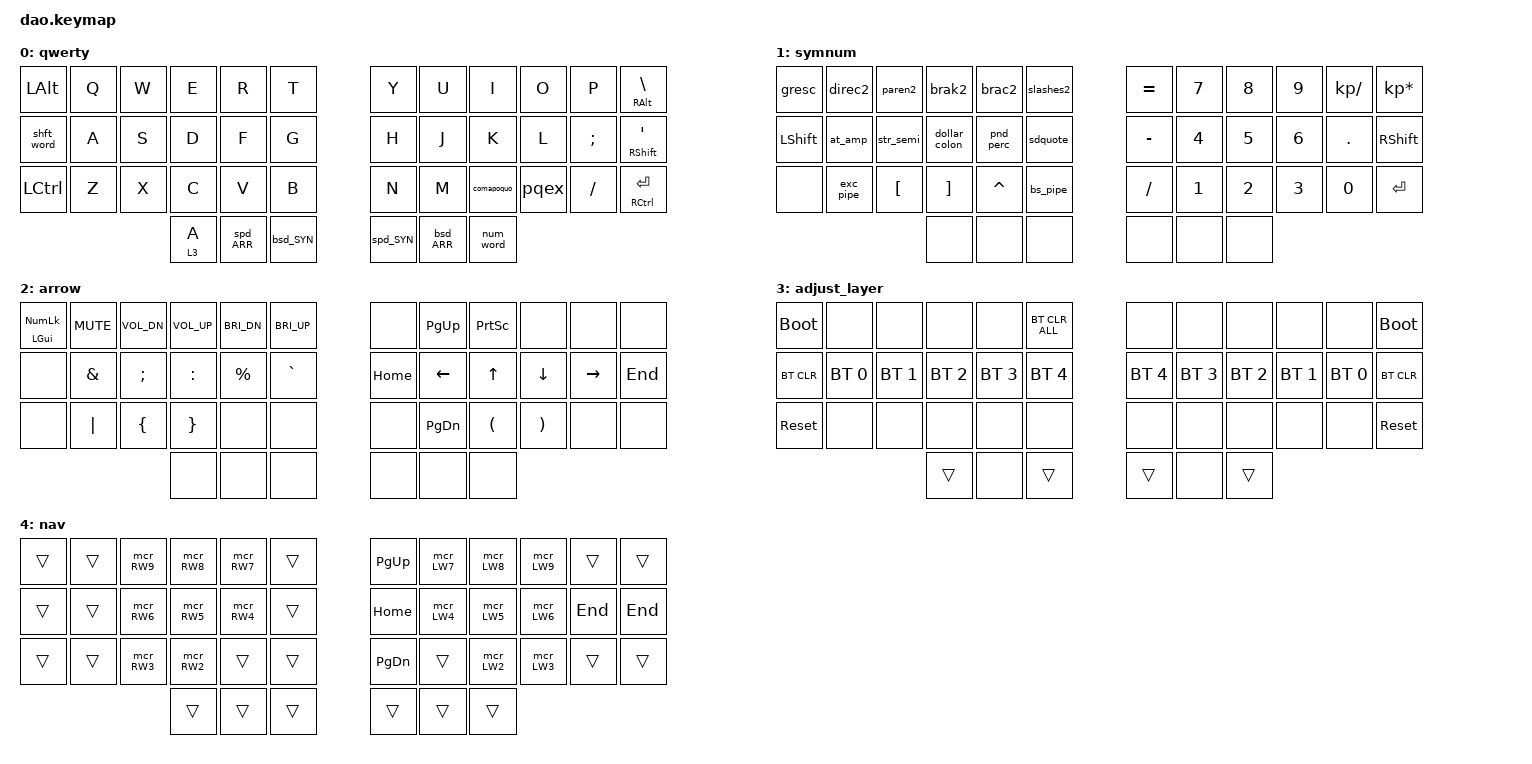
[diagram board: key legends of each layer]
/*
 * Copyright (c) 2021 Rafael Yumagulov
 *
 * SPDX-License-Identifier: MIT
 */

#include <behaviors.dtsi>
#include <dt-bindings/zmk/bt.h>
#include <dt-bindings/zmk/keys.h>
#include <dt-bindings/zmk/rgb.h>

#define DEF 0
#define LWR 1
#define RSE 2
#define ADJ 3

&lt { quick_tap_ms = <200>; };

&mt { quick_tap_ms = <200>; };

/ {
    chosen {
        zmk,matrix_transform = &default_transform;

        // zmk,matrix_transform = &extra_keys_transform;
    };
};

/ {
    combos {
        compatible = "zmk,combos";

        cmb_escape {
            bindings = <&kp ESC>;
            key-positions = <1 2>;
        };

        cmb_tab {
            bindings = <&kp TAB>;
            key-positions = <4 5>;
        };

        cmb_leftjumpword {
            bindings = <&lt 4 LC(LEFT_ARROW)>;
            key-positions = <14 13>;
            require-prior-idle-ms = <100>;
            slow-release;
        };

        cmb_rightjumpword {
            bindings = <&lt 4 RC(RIGHT_ARROW)>;
            key-positions = <22 21>;
            require-prior-idle-ms = <100>;
        };

        cmb_word_bspc {
            bindings = <&kp LC(BACKSPACE)>;
            key-positions = <13 12>;
        };

        cmb_word_del {
            bindings = <&kp LC(DEL)>;
            key-positions = <22 23>;
        };

        cmb_word_sel_left {
            bindings = <&kp LC(LS(LEFT))>;
            key-positions = <13 14 15>;
            require-prior-idle-ms = <200>;
        };

        cmb_word_sel_right {
            bindings = <&kp LC(LS(RIGHT))>;
            key-positions = <20 21 22>;
            require-prior-idle-ms = <200>;
        };

        cmb_rclick_word {
            bindings = <&kp LS(F10)>;
            key-positions = <22 19 21 20>;
        };

        cmb_ctrl_z {
            bindings = <&kp LC(Z)>;
            key-positions = <25 26>;
        };

        cmb_ctl_z {
            bindings = <&kp LC(Z)>;
            key-positions = <38 39>;
            layers = <0 1 2>;
        };

        cmb_left_arrow {
            bindings = <&kp LEFT>;
            key-positions = <16 15>;
            require-prior-idle-ms = <600>;
        };

        cmb_right_arrow {
            bindings = <&kp RIGHT>;
            key-positions = <19 20>;
            require-prior-idle-ms = <600>;
        };

        cmb_up_arrow {
            bindings = <&kp UP_ARROW>;
            key-positions = <7 8>;
            require-prior-idle-ms = <600>;
        };

        cmb_dn_arrow {
            bindings = <&kp DOWN>;
            key-positions = <31 32>;
            require-prior-idle-ms = <600>;
        };

        cmb_cut {
            bindings = <&kp LC(X)>;
            key-positions = <26 27>;
        };

        cmb_copy {
            bindings = <&kp LC(C)>;
            key-positions = <27 28>;
        };

        cmb_paste {
            bindings = <&kp LC(V)>;
            key-positions = <27 28 26>;
        };

        cmb_CT_AL_DEL {
            bindings = <&kp LC(LA(DELETE))>;
            key-positions = <26 25 27 28>;
        };

        cmb_lock_kbd {
            bindings = <&kp LG(L)>;
            key-positions = <32 31 33 34>;
        };

        cmb_open_apps {
            bindings = <&kp LG(TAB)>;
            key-positions = <1 2 3 4>;
        };

        cmb_lshift {
            bindings = <&shft_word>;
            key-positions = <14 15>;
            require-prior-idle-ms = <200>;
        };

        cmb_rshift {
            bindings = <&shft_word>;
            key-positions = <21 20>;
            require-prior-idle-ms = <200>;
        };

        cmb_atsym {
            bindings = <&kp AT>;
            key-positions = <1 13>;
        };

        cmb_dollar {
            bindings = <&kp DOLLAR>;
            key-positions = <15 3>;
        };

        cmb_percent {
            bindings = <&kp PERCENT>;
            key-positions = <4 16>;
        };

        cmb_alt {
            bindings = <&sk LALT>;
            key-positions = <13 25 13 25>;
            slow-release;
            require-prior-idle-ms = <200>;
        };

        cmb_ctrl {
            bindings = <&sk LCTRL>;
            key-positions = <15 27>;
            slow-release;
            require-prior-idle-ms = <200>;
        };

        cmb_win {
            bindings = <&sk LEFT_WIN>;
            key-positions = <14 14 14 14 2>;
        };

        cmb_apple {
            bindings = <&sk LEFT_COMMAND>;
            key-positions = <14 26>;
        };

        cmb_pssw {
            bindings = <&pssw>;
            key-positions = <7 8 9 10>;
        };

        cmb_esc {
            bindings = <&kp ESC>;
            key-positions = <37 40>;
            layers = <0 1 2>;
        };

        cmb_LW3 {
            bindings = <&mcr_LW3>;
            key-positions = <33 3 2>;
        };

        cmb_LW4 {
            bindings = <&mcr_LW4>;
            key-positions = <19 3 2>;
        };

        cmb_LW5 {
            bindings = <&mcr_LW5>;
            key-positions = <20 3 2>;
            slow-release;
            require-prior-idle-ms = <100>;
        };

        cmb_LW6 {
            bindings = <&mcr_LW6>;
            key-positions = <3 21 2>;
        };

        cmb_LW7 {
            bindings = <&mcr_LW7>;
            key-positions = <3 7 2>;
        };

        cmb_LW8 {
            bindings = <&mcr_LW8>;
            key-positions = <8 3 2>;
            slow-release;
            require-prior-idle-ms = <100>;
        };

        cmb_LW9 {
            bindings = <&mcr_LW9>;
            key-positions = <3 9 2>;
        };

        cmb_RW3 {
            bindings = <&mcr_RW3>;
            key-positions = <33 3 4>;
        };

        cmb_RW4 {
            bindings = <&mcr_RW4>;
            key-positions = <19 3 4>;
        };

        cmb_RW5 {
            bindings = <&mcr_RW5>;
            key-positions = <20 3 4>;
            slow-release;
            require-prior-idle-ms = <100>;
        };

        cmb_RW6 {
            bindings = <&mcr_RW6>;
            key-positions = <3 21 4>;
        };

        cmb_RW7 {
            bindings = <&mcr_RW7>;
            key-positions = <3 7 4>;
        };

        cmb_RW8 {
            bindings = <&mcr_RW8>;
            key-positions = <8 3 4>;
            slow-release;
            require-prior-idle-ms = <100>;
        };

        cmb_RW9 {
            bindings = <&mcr_RW9>;
            key-positions = <3 9 4>;
        };
    };

    behaviors {
        spd_SYN: spd_SYN {
            compatible = "zmk,behavior-mod-morph";
            label = "SPD_SYN";
            bindings = <&lt 1 SPACE>, <&kp DELETE>;

            #binding-cells = <0>;
            mods = <(MOD_LCTL|MOD_LSFT|MOD_LALT|MOD_RCTL|MOD_RSFT|MOD_RALT)>;
        };

        bsd_SYN: bsd_SYN {
            compatible = "zmk,behavior-mod-morph";
            label = "BSD_SYN";
            bindings = <&lt 1 BSPC>, <&kp DELETE>;

            #binding-cells = <0>;
            mods = <(MOD_LCTL|MOD_LSFT|MOD_LALT|MOD_RCTL|MOD_RSFT|MOD_RALT)>;
        };

        spd_ARR: spd_ARR {
            compatible = "zmk,behavior-mod-morph";
            label = "SPD_ARR";
            bindings = <&lt 2 BACKSPACE>, <&kp DELETE>;

            #binding-cells = <0>;
            mods = <(MOD_LCTL|MOD_LALT|MOD_LSFT|MOD_RCTL|MOD_RSFT|MOD_RALT)>;
        };

        bsd_ARR: bsd_ARR {
            compatible = "zmk,behavior-mod-morph";
            label = "BSD_ARR";
            bindings = <&lt 2 BACKSPACE>, <&kp DELETE>;

            #binding-cells = <0>;
            mods = <(MOD_LCTL|MOD_LSFT|MOD_LALT|MOD_RCTL|MOD_RSFT|MOD_RALT)>;
        };

        RW_RL: RW_RL {
            compatible = "zmk,behavior-mod-morph";
            label = "RW_RL";
            bindings = <&kp LC(RIGHT)>, <&kp RIGHT>;

            #binding-cells = <0>;
            mods = <(MOD_LCTL|MOD_LSFT|MOD_LALT)>;
            keep-mods = <(MOD_LCTL|MOD_LSFT|MOD_LALT)>;
        };

        direc2: direc2 {
            compatible = "zmk,behavior-tap-dance";
            label = "DIREC2";
            #binding-cells = <0>;
            bindings = <&kp LS(LESS_THAN)>, <&kp GREATER_THAN>;

            tapping-term-ms = <300>;
        };

        paren2: paren2 {
            compatible = "zmk,behavior-tap-dance";
            label = "PAREN2";
            #binding-cells = <0>;
            bindings = <&kp LEFT_PARENTHESIS>, <&kp RIGHT_PARENTHESIS>;

            tapping-term-ms = <300>;
        };

        brak2: brak2 {
            compatible = "zmk,behavior-tap-dance";
            label = "BRAK2";
            #binding-cells = <0>;
            bindings = <&kp LEFT_BRACKET>, <&kp RIGHT_BRACKET>;

            tapping-term-ms = <300>;
        };

        brac2: brac2 {
            compatible = "zmk,behavior-tap-dance";
            label = "BRAC2";
            #binding-cells = <0>;
            bindings = <&kp LEFT_BRACE>, <&kp RIGHT_BRACE>;

            tapping-term-ms = <300>;
        };

        slashes2: slashes2 {
            compatible = "zmk,behavior-tap-dance";
            label = "SLASHES2";
            #binding-cells = <0>;
            bindings = <&kp SLASH>, <&kp BACKSLASH>;

            tapping-term-ms = <300>;
        };

        pqex: pqex {
            compatible = "zmk,behavior-tap-dance";
            label = "PQEX";
            #binding-cells = <0>;
            bindings = <&kp PERIOD>, <&kp QUESTION>, <&kp EXCL>;

            tapping-term-ms = <300>;
        };

        comapoquo: comapoquo {
            compatible = "zmk,behavior-tap-dance";
            label = "COMAPOQUO";
            #binding-cells = <0>;
            bindings = <&kp COMMA>, <&kp APOS>, <&kp DOUBLE_QUOTES>;

            tapping-term-ms = <300>;
        };

        shft_word: shft_word {
            compatible = "zmk,behavior-tap-dance";
            label = "SHFT_WORD";
            #binding-cells = <0>;
            bindings = <&sk LSHFT>, <&caps_word>;

            tapping-term-ms = <300>;
        };

        exc_pipe: exc_pipe {
            compatible = "zmk,behavior-tap-dance";
            label = "EXC_PIPE";
            #binding-cells = <0>;
            tapping-term-ms = <300>;
            bindings = <&kp EXCL>, <&kp PIPE>;
        };

        pnd_perc: pnd_perc {
            compatible = "zmk,behavior-tap-dance";
            label = "PND_PERC";
            #binding-cells = <0>;
            tapping-term-ms = <300>;
            bindings = <&kp POUND>, <&kp PERCENT>;
        };

        str_semi: str_semi {
            compatible = "zmk,behavior-tap-dance";
            label = "STR_SEMI";
            #binding-cells = <0>;
            bindings = <&kp STAR>, <&kp SEMI>;

            tapping-term-ms = <300>;
        };

        at_amp: at_amp {
            compatible = "zmk,behavior-tap-dance";
            label = "AT_AMP";
            #binding-cells = <0>;
            bindings = <&kp AT_SIGN>, <&kp AMPS>;

            tapping-term-ms = <300>;
        };

        sdquote: sdquote {
            compatible = "zmk,behavior-tap-dance";
            label = "SDQUOTE";
            #binding-cells = <0>;
            tapping-term-ms = <300>;
            bindings = <&kp SINGLE_QUOTE>, <&kp DOUBLE_QUOTES>;
        };

        bs_pipe: bs_pipe {
            compatible = "zmk,behavior-tap-dance";
            label = "BS_PIPE";
            #binding-cells = <0>;
            tapping-term-ms = <300>;
            bindings = <&kp BACKSLASH>, <&kp PIPE>;
        };

        num_word: num_word {
            compatible = "zmk,behavior-caps-word";
            label = "NUM_WORD";
            #binding-cells = <0>;
            continue-list = <N1 N2 N4 N5 N6 N7 N8 N9 N0 N3 STAR BSPC SPACE MINUS PLUS EQUAL UNDERSCORE BSLH COLON COMMA DOT PERIOD SLASH FSLH DEL>;
        };

        dollar_colon: dollar_colon {
            compatible = "zmk,behavior-tap-dance";
            label = "DOLLAR_COLON";
            #binding-cells = <0>;
            bindings = <&kp DOLLAR>, <&kp COLON>;

            tapping-term-ms = <300>;
        };

        J_4LW: J_4LW {
            compatible = "zmk,behavior-mod-morph";
            label = "J_4LW";
            bindings = <&kp J>, <&mcr_LW4>;

            #binding-cells = <0>;
            mods = <(MOD_LCTL|MOD_RCTL|MOD_RALT|MOD_LALT)>;
        };

        K_5LW: K_5LW {
            compatible = "zmk,behavior-mod-morph";
            label = "K_5LW";
            bindings = <&kp K>, <&mcr_LW5>;

            #binding-cells = <0>;
            mods = <(MOD_LCTL|MOD_LALT|MOD_RCTL|MOD_RALT)>;
        };

        L_6LW: L_6LW {
            compatible = "zmk,behavior-mod-morph";
            label = "L_6LW";
            bindings = <&kp L>, <&mcr_LW6>;

            #binding-cells = <0>;
            mods = <(MOD_LCTL|MOD_LALT|MOD_RCTL|MOD_RALT)>;
        };

        comma_2LW: comma_2LW {
            compatible = "zmk,behavior-mod-morph";
            label = "COMMA_2LW";
            bindings = <&comapoquo>, <&comma_2LW>;

            #binding-cells = <0>;
            mods = <(MOD_LCTL|MOD_LALT|MOD_RCTL|MOD_RALT)>;
        };

        period_3LW: period_3LW {
            compatible = "zmk,behavior-mod-morph";
            label = "PERIOD_3LW";
            bindings = <&pqex>, <&mcr_LW3>;

            #binding-cells = <0>;
            mods = <(MOD_LCTL|MOD_LALT|MOD_RCTL|MOD_RALT)>;
        };

        U_7LW: U_7LW {
            compatible = "zmk,behavior-mod-morph";
            label = "U_7LW";
            bindings = <&kp U>, <&mcr_LW7>;

            #binding-cells = <0>;
            mods = <(MOD_LCTL|MOD_LALT|MOD_RCTL|MOD_RALT)>;
        };

        I_8LW: I_8LW {
            compatible = "zmk,behavior-mod-morph";
            label = "I_8LW";
            bindings = <&kp I>, <&mcr_LW8>;

            #binding-cells = <0>;
            mods = <(MOD_LCTL|MOD_LALT|MOD_RCTL|MOD_RALT)>;
        };

        O_9LW: O_9LW {
            compatible = "zmk,behavior-mod-morph";
            label = "O_9LW";
            bindings = <&kp I>, <&mcr_LW9>;

            #binding-cells = <0>;
            mods = <(MOD_LCTL|MOD_LALT|MOD_RCTL|MOD_RALT)>;
        };

        LA_LC: LA_LC {
            compatible = "zmk,behavior-tap-dance";
            label = "LA_LC";
            #binding-cells = <0>;
            bindings = <&kp LC(LEFT_ARROW)>;
        };

        RA_RC: RA_RC {
            compatible = "zmk,behavior-tap-dance";
            label = "RA_RC";
            #binding-cells = <0>;
            bindings = <&kp RC(RIGHT_ARROW)>;
        };
    };

    macros {
        pssw: pssw {
            compatible = "zmk,behavior-macro";
            #binding-cells = <0>;
            bindings = <&kp R &kp F &kp V &kp U &kp J &kp M &kp LS(A) &kp NUMBER_1>;
            label = "PSSW";
        };

        rgblayer: rgblayer {
            compatible = "zmk,behavior-macro";
            #binding-cells = <0>;
            bindings =
                <&macro_press>,
                <&mo 1>,
                <&macro_tap>,
                <&rgb_ug RGB_COLOR_HSB(343,88,36)>,
                <&macro_pause_for_release>,
                <&macro_release>,
                <&mo 1>,
                <&macro_tap>,
                <&rgb_ug RGB_COLOR_HSB(0,6,3)>;

            label = "RGBLAYER";
        };

        rgblayer_param: rgblayer_param {
            compatible = "zmk,behavior-macro-two-param";
            #binding-cells = <2>;
            bindings =
                <&macro_press>,
                <&macro_param_1to1 &mo MACRO_PLACEHOLDER>,
                <&macro_tap>,
                <&macro_param_2to2 &rgb_ug RGB_COLOR_HSB_CMD MACRO_PLACEHOLDER>,
                <&macro_pause_for_release>,
                <&macro_release>,
                <&macro_param_1to1 &mo MACRO_PLACEHOLDER>,
                <&macro_tap>,
                <&rgb_ug RGB_COLOR_HSB(0,6,3)>;

            label = "RGBLAYER_PARAM";
        };

        mcr_LW2: mcr_LW2 {
            compatible = "zmk,behavior-macro";
            #binding-cells = <0>;
            bindings = <&LA_LC &LA_LC>;
            label = "MCR_LW2";
        };

        mcr_LW3: mcr_LW3 {
            compatible = "zmk,behavior-macro";
            #binding-cells = <0>;
            bindings = <&LA_LC &LA_LC &LA_LC>;
            label = "MCR_LW3";
        };

        mcr_LW4: mcr_LW4 {
            compatible = "zmk,behavior-macro";
            #binding-cells = <0>;
            bindings = <&LA_LC &LA_LC &LA_LC &LA_LC>;
            label = "MCR_LW4";
        };

        mcr_LW5: mcr_LW5 {
            compatible = "zmk,behavior-macro";
            #binding-cells = <0>;
            bindings = <&LA_LC &LA_LC &LA_LC &LA_LC &LA_LC>;
            label = "MCR_LW5";
        };

        mcr_LW6: mcr_LW6 {
            compatible = "zmk,behavior-macro";
            #binding-cells = <0>;
            bindings = <&LA_LC &LA_LC &LA_LC &LA_LC &LA_LC &LA_LC>;
            label = "MCR_LW6";
        };

        mcr_LW7: mcr_LW7 {
            compatible = "zmk,behavior-macro";
            #binding-cells = <0>;
            bindings = <&LA_LC &LA_LC &LA_LC &LA_LC &LA_LC &LA_LC &LA_LC>;
            label = "MCR_LW7";
        };

        mcr_LW8: mcr_LW8 {
            compatible = "zmk,behavior-macro";
            #binding-cells = <0>;
            bindings = <&LA_LC &LA_LC &LA_LC &LA_LC &LA_LC &LA_LC &LA_LC &LA_LC>;
            label = "MCR_LW8";
        };

        mcr_LW9: mcr_LW9 {
            compatible = "zmk,behavior-macro";
            #binding-cells = <0>;
            bindings = <&LA_LC &LA_LC &LA_LC &LA_LC &LA_LC &LA_LC &LA_LC &LA_LC &LA_LC>;
            label = "MCR_LW9";
        };

        mcr_RW2: mcr_RW2 {
            compatible = "zmk,behavior-macro";
            #binding-cells = <0>;
            bindings = <&RA_RC &RA_RC>;
            label = "MCR_RW2";
        };

        mcr_RW3: mcr_RW3 {
            compatible = "zmk,behavior-macro";
            #binding-cells = <0>;
            bindings = <&RA_RC &RA_RC &RA_RC>;
            label = "MCR_RW3";
        };

        mcr_RW4: mcr_RW4 {
            compatible = "zmk,behavior-macro";
            #binding-cells = <0>;
            bindings = <&RA_RC &RA_RC &RA_RC &RA_RC>;
            label = "MCR_RW4";
        };

        mcr_RW5: mcr_RW5 {
            compatible = "zmk,behavior-macro";
            #binding-cells = <0>;
            bindings = <&RA_RC &RA_RC &RA_RC &RA_RC &RA_RC>;
            label = "MCR_RW5";
        };

        mcr_RW6: mcr_RW6 {
            compatible = "zmk,behavior-macro";
            #binding-cells = <0>;
            bindings = <&RA_RC &RA_RC &RA_RC &RA_RC &RA_RC &RA_RC>;
            label = "MCR_RW6";
        };

        mcr_RW7: mcr_RW7 {
            compatible = "zmk,behavior-macro";
            #binding-cells = <0>;
            bindings = <&RA_RC &RA_RC &RA_RC &RA_RC &RA_RC &RA_RC &RA_RC>;
            label = "MCR_RW7";
        };

        mcr_RW8: mcr_RW8 {
            compatible = "zmk,behavior-macro";
            #binding-cells = <0>;
            bindings = <&RA_RC &RA_RC &RA_RC &RA_RC &RA_RC &RA_RC &RA_RC &RA_RC>;
            label = "MCR_RW8";
        };

        mcr_RW9: mcr_RW9 {
            compatible = "zmk,behavior-macro";
            #binding-cells = <0>;
            bindings = <&RA_RC &RA_RC &RA_RC &RA_RC &RA_RC &RA_RC &RA_RC &RA_RC &RA_RC>;
            label = "MCR_RW9";
        };
    };

    keymap {
        compatible = "zmk,keymap";

        qwerty {
            bindings = <
&kp LEFT_ALT      &kp Q  &kp W  &kp E    &kp R     &kp T     &kp Y     &kp U     &kp I       &kp O  &kp P     &mt RALT BACKSLASH
&shft_word        &kp A  &kp S  &kp D    &kp F     &kp G     &kp H     &kp J     &kp K       &kp L  &kp SEMI  &mt RSHFT SQT
&kp LEFT_CONTROL  &kp Z  &kp X  &kp C    &kp V     &kp B     &kp N     &kp M     &comapoquo  &pqex  &kp FSLH  &mt RCTRL RETURN
                                &lt 3 A  &spd_ARR  &bsd_SYN  &spd_SYN  &bsd_ARR  &num_word
            >;
        };

        symnum {
            bindings = <
&gresc     &direc2    &paren2           &brak2             &brac2     &slashes2  &kp EQUAL  &kp N7        &kp N8        &kp N9        &kp KP_DIVIDE  &kp KP_MULTIPLY
&kp LSHFT  &at_amp    &str_semi         &dollar_colon      &pnd_perc  &sdquote   &kp MINUS  &kp NUMBER_4  &kp N5        &kp NUMBER_6  &kp PERIOD     &kp RSHFT
&none      &exc_pipe  &kp LEFT_BRACKET  &kp RIGHT_BRACKET  &kp CARET  &bs_pipe   &kp SLASH  &kp NUMBER_1  &kp NUMBER_2  &kp NUMBER_3  &kp N0         &kp RETURN
                                        &none              &none      &none      &none      &none         &none
            >;
        };

        arrow {
            bindings = <
&mt LGUI KP_NUM  &kp C_MUTE  &kp C_VOL_DN    &kp C_VOL_UP     &kp C_BRI_DN  &kp C_BRI_UP  &none     &kp PG_UP      &kp PSCRN             &none                  &none      &none
&none            &kp AMPS    &kp SEMI        &kp COLON        &kp PERCENT   &kp GRAVE     &kp HOME  &kp LEFT       &kp UP                &kp DOWN               &kp RIGHT  &kp END
&none            &kp PIPE    &kp LEFT_BRACE  &kp RIGHT_BRACE  &none         &none         &none     &kp PAGE_DOWN  &kp LEFT_PARENTHESIS  &kp RIGHT_PARENTHESIS  &none      &none
                                             &none            &none         &none         &none     &none          &none
            >;
        };

        adjust_layer {
            bindings = <
&bootloader  &none         &none         &none         &none         &bt BT_CLR_ALL  &none         &none         &none         &none         &none         &bootloader
&bt BT_CLR   &bt BT_SEL 0  &bt BT_SEL 1  &bt BT_SEL 2  &bt BT_SEL 3  &bt BT_SEL 4    &bt BT_SEL 4  &bt BT_SEL 3  &bt BT_SEL 2  &bt BT_SEL 1  &bt BT_SEL 0  &bt BT_CLR
&sys_reset   &none         &none         &none         &none         &none           &none         &none         &none         &none         &none         &sys_reset
                                         &trans        &none         &trans          &trans        &none         &trans
            >;
        };

        nav {
            bindings = <
&trans  &trans  &mcr_RW9  &mcr_RW8  &mcr_RW7  &trans  &kp PG_UP  &mcr_LW7  &mcr_LW8  &mcr_LW9  &trans   &trans
&trans  &trans  &mcr_RW6  &mcr_RW5  &mcr_RW4  &trans  &kp HOME   &mcr_LW4  &mcr_LW5  &mcr_LW6  &kp END  &kp END
&trans  &trans  &mcr_RW3  &mcr_RW2  &trans    &trans  &kp PG_DN  &trans    &mcr_LW2  &mcr_LW3  &trans   &trans
                          &trans    &trans    &trans  &trans     &trans    &trans
            >;
        };
    };
};
